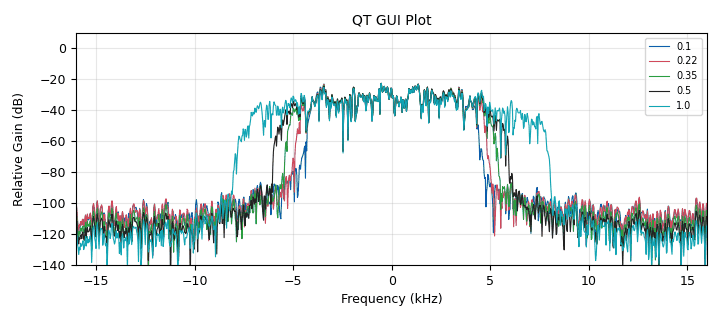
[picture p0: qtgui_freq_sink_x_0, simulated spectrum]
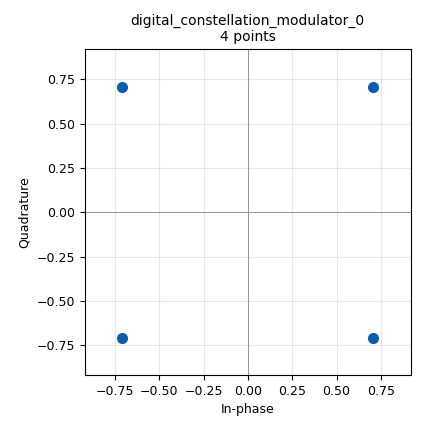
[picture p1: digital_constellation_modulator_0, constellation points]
options:
  parameters:
    author: Barry Duggan
    category: Custom
    generate_options: qt_gui
    id: qpsk_rrc_rolloff
    output_language: python
    title: qpsk_rrc_rolloff
  states: {}

blocks:
- name: excess_bw
  id: variable
  parameters:
    value: '0.35'
  states: {}
- name: qpsk
  id: variable_constellation_rect
  parameters:
    const_points: '[0.707+0.707j, -0.707+0.707j, -0.707-0.707j, 0.707-0.707j]'
    imag_sect: '2'
    real_sect: '2'
    rot_sym: '4'
    sym_map: '[0, 1, 2, 3]'
    w_imag_sect: '1'
    w_real_sect: '1'
  states: {}
- name: samp_rate
  id: variable
  parameters:
    value: '32000'
  states: {}
- name: sps
  id: variable
  parameters:
    value: '4'
  states: {}
- name: analog_random_source_x_0
  id: analog_random_source_x
  parameters:
    max: '256'
    min: '0'
    num_samps: '10000'
    repeat: 'True'
    type: byte
  states: {}
- name: blocks_throttle2_0
  id: blocks_throttle2
  parameters:
    samples_per_second: samp_rate
    type: complex
  states: {}
- name: digital_constellation_modulator_0
  id: digital_constellation_modulator
  parameters:
    constellation: qpsk
    differential: 'True'
    excess_bw: '0.1'
    samples_per_symbol: sps
  states: {}
- name: digital_constellation_modulator_0_0
  id: digital_constellation_modulator
  parameters:
    constellation: qpsk
    differential: 'True'
    excess_bw: '0.22'
    samples_per_symbol: sps
  states: {}
- name: digital_constellation_modulator_0_0_0
  id: digital_constellation_modulator
  parameters:
    constellation: qpsk
    differential: 'True'
    excess_bw: '0.5'
    samples_per_symbol: sps
  states: {}
- name: digital_constellation_modulator_0_0_0_0
  id: digital_constellation_modulator
  parameters:
    constellation: qpsk
    differential: 'True'
    excess_bw: '1.0'
    samples_per_symbol: sps
  states: {}
- name: digital_constellation_modulator_0_1
  id: digital_constellation_modulator
  parameters:
    constellation: qpsk
    differential: 'True'
    excess_bw: '0.35'
    samples_per_symbol: sps
  states: {}
- name: qtgui_freq_sink_x_0
  id: qtgui_freq_sink_x
  parameters:
    bw: samp_rate
    fc: '0'
    fftsize: '1024'
    gui_hint: 1,0,1,2
    label1: '0.1'
    label2: '0.22'
    label3: '0.35'
    label4: '0.5'
    label5: '1.0'
    name: QT GUI Plot
    nconnections: '5'
    type: complex
  states: {}

connections:
- [analog_random_source_x_0, '0', digital_constellation_modulator_0, '0']
- [analog_random_source_x_0, '0', digital_constellation_modulator_0_0, '0']
- [analog_random_source_x_0, '0', digital_constellation_modulator_0_0_0, '0']
- [analog_random_source_x_0, '0', digital_constellation_modulator_0_0_0_0, '0']
- [analog_random_source_x_0, '0', digital_constellation_modulator_0_1, '0']
- [blocks_throttle2_0, '0', qtgui_freq_sink_x_0, '0']
- [digital_constellation_modulator_0, '0', blocks_throttle2_0, '0']
- [digital_constellation_modulator_0_0, '0', qtgui_freq_sink_x_0, '1']
- [digital_constellation_modulator_0_0_0, '0', qtgui_freq_sink_x_0, '3']
- [digital_constellation_modulator_0_0_0_0, '0', qtgui_freq_sink_x_0, '4']
- [digital_constellation_modulator_0_1, '0', qtgui_freq_sink_x_0, '2']

metadata:
  file_format: 1
  grc_version: 3.10.12.0
